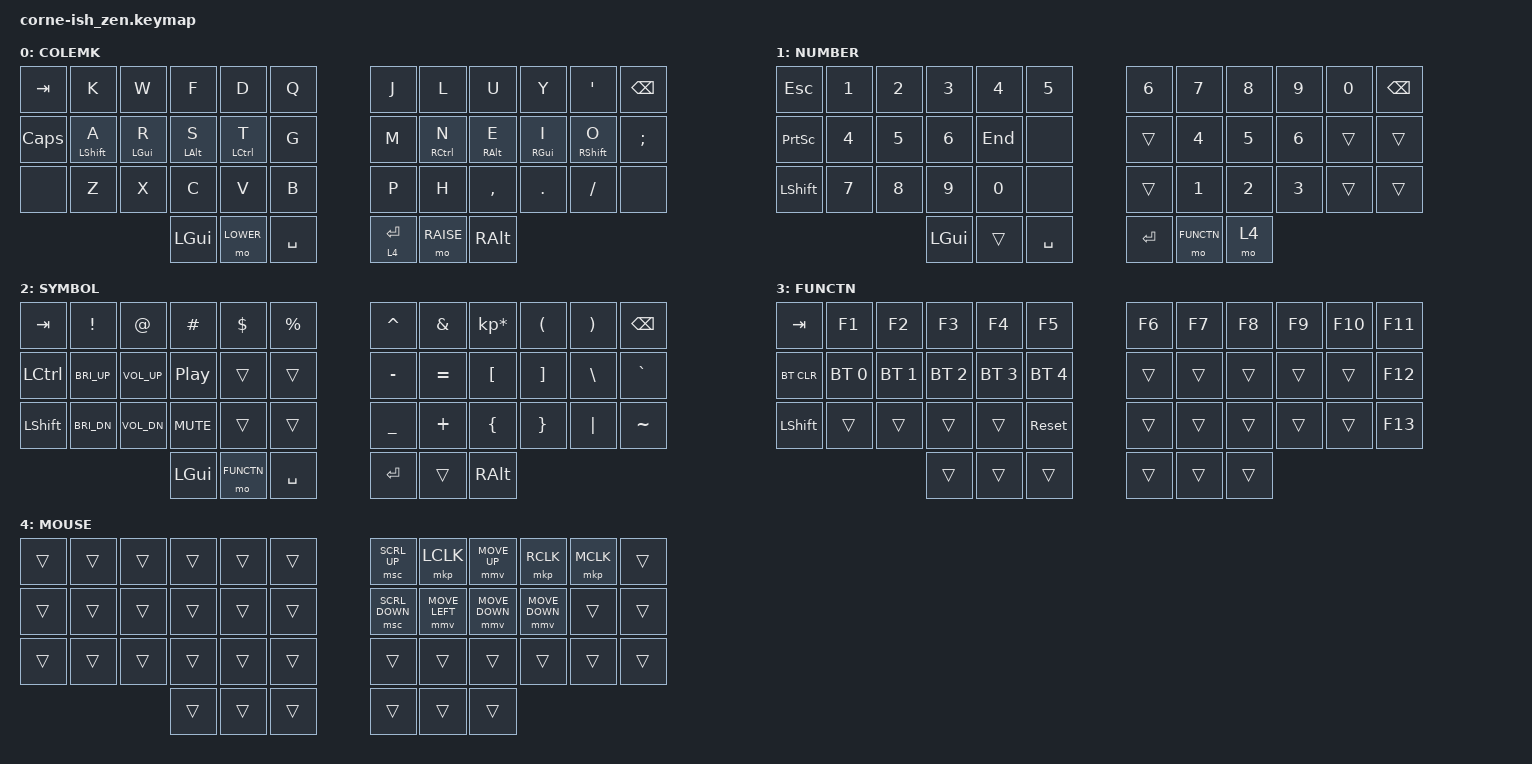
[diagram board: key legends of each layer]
/*
*
* Copyright (c) 2021 Darryl deHaan
* SPDX-License-Identifier: MIT
*
*/

#include <behaviors.dtsi>
#include <dt-bindings/zmk/bt.h>
#include <dt-bindings/zmk/keys.h>
#include <dt-bindings/zmk/pointing.h>

#define COLEMK 0
#define LOWER 1
#define RAISE 2
#define FUNCTN 3

&mt {
    flavor = "tap-preferred";
    tapping-term-ms = <400>;
};

/ {
    chosen {
        zmk,matrix_transform = &default_transform;

        //zmk,matrix_transform = &five_column_transform;
    };
};

/ {
    keymap {
        compatible = "zmk,keymap";

        default_layer {
            label = "COLEMK";

            // -----------------------------------------------------------------------------------------
            // |  TAB |  K  |  W  |  F  |  D  |  Q  |    |  J  |  L   |  U  |  Y  |  '  | BKSP |
            // | CTRL |  A  |  R  |  S  |  T  |  G  |    |  M  |  N   |  E  |  I  |  O  |  ;   |
            // | SHFT |  Z  |  X  |  C  |  V  |  B  |    |  P  |  H   |  ,  |  .  |  /  | SHFT |
            //                    | GUI | LWR | SPC |    | ENT | RSE  | ALT |

            bindings = <
&kp TAB   &kp K         &kp W       &kp F       &kp D        &kp Q        &kp J        &kp L        &kp U       &kp Y       &kp SQT       &kp BSPC
&kp CAPS  &mt LSHIFT A  &mt LGUI R  &mt LALT S  &mt LCTRL T  &kp G        &kp M        &mt RCTRL N  &mt RALT E  &mt RGUI I  &mt RSHIFT O  &kp SEMI
&none     &kp Z         &kp X       &kp C       &kp V        &kp B        &kp P        &kp H        &kp COMMA   &kp DOT     &kp FSLH      &none
                                    &kp LGUI    &mo LOWER    &kp SPACE    &lt 4 ENTER  &mo RAISE    &kp RALT
            >;
        };

        lower_layer {
            label = "NUMBER";

            // -----------------------------------------------------------------------------------------
            // |  ESC |  1  |  2  |  3  |  4  |  5  |   |  6  |  7  |  8  |  9  |  0  | BKSP |
            // |PRNTSC| DEL | HOME|  UP | END |PG UP|   |     |  4  |  5  |  6  |     |      |
            // | SHFT | BKSP| LFT | DWN | RGT |PG DN|   |     |  1  |  2  |  3  |     |      |
            //                    | GUI |     | SPC |   | ENT |     | ALT |

            bindings = <
&kp ESC    &kp N1        &kp N2        &kp N3        &kp N4        &kp N5       &kp N6   &kp N7      &kp N8  &kp N9  &kp N0  &kp BSPC
&kp PSCRN  &kp NUMBER_4  &kp NUMBER_5  &kp NUMBER_6  &kp END       &none        &trans   &kp N4      &kp N5  &kp N6  &trans  &trans
&kp LSHFT  &kp NUMBER_7  &kp N8        &kp NUMBER_9  &kp NUMBER_0  &none        &trans   &kp N1      &kp N2  &kp N3  &trans  &trans
                                       &kp LGUI      &trans        &kp SPACE    &kp RET  &mo FUNCTN  &mo 4
            >;
        };

        raise_layer {
            label = "SYMBOL";

            // -----------------------------------------------------------------------------------------
            // |  TAB |  !   |  @   |  #   |  $  |  %  |     |  ^  |  &  |  *  |  (  |  )  | BKSP |
            // | CTRL |BRGHT+| VOL+ |PLY/PS|     |     |     |  -  |  =  |  [  |  ]  |  \  |  `   |
            // | SHFT |BRGHT-| VOL- | MUTE |     |     |     |  _  |  +  |  {  |  }  |  |  |  ~   |
            //                      | GUI  |     | SPC |     | ENT |     | ALT |

            bindings = <
&kp TAB    &kp EXCL      &kp AT        &kp HASH    &kp DLLR    &kp PRCNT    &kp CARET  &kp AMPS   &kp KP_MULTIPLY  &kp LPAR  &kp RPAR  &kp BSPC
&kp LCTRL  &kp C_BRI_UP  &kp C_VOL_UP  &kp C_PP    &trans      &trans       &kp MINUS  &kp EQUAL  &kp LBKT         &kp RBKT  &kp BSLH  &kp GRAVE
&kp LSHFT  &kp C_BRI_DN  &kp C_VOL_DN  &kp C_MUTE  &trans      &trans       &kp UNDER  &kp PLUS   &kp LBRC         &kp RBRC  &kp PIPE  &kp TILDE
                                       &kp LGUI    &mo FUNCTN  &kp SPACE    &kp RET    &trans     &kp RALT
            >;
        };

        funtion_layer {
            label = "FUNCTN";

            // -----------------------------------------------------------------------------------------
            // |  TAB |  F1 |  F2 |  F3 |  F4 |  F5 |   |  F6 |  F7 |  F8 |  F9 | F10 |  F11 |
            // | BTCLR| BT1 | BT2 | BT3 | BT4 | BT5 |   |     |     |     |     |     |  F12 |
            // | SHFT |     |     |     |     | RST |   |     |     |     |     |     |  F13 |
            //                    | GUI |     | SPC |   | ENT |     | ALT |

            bindings = <
&kp TAB     &kp F1        &kp F2        &kp F3        &kp F4        &kp F5          &kp F6  &kp F7  &kp F8  &kp F9  &kp F10  &kp F11
&bt BT_CLR  &bt BT_SEL 0  &bt BT_SEL 1  &bt BT_SEL 2  &bt BT_SEL 3  &bt BT_SEL 4    &trans  &trans  &trans  &trans  &trans   &kp F12
&kp LSHFT   &trans        &trans        &trans        &trans        &sys_reset      &trans  &trans  &trans  &trans  &trans   &kp F13
                                        &trans        &trans        &trans          &trans  &trans  &trans
            >;
        };

        mouse_layer {
            bindings = <
&trans  &trans  &trans  &trans  &trans  &trans    &msc SCRL_UP    &mkp LCLK       &mmv MOVE_UP    &mkp RCLK       &mkp MCLK  &trans
&trans  &trans  &trans  &trans  &trans  &trans    &msc SCRL_DOWN  &mmv MOVE_LEFT  &mmv MOVE_DOWN  &mmv MOVE_DOWN  &trans     &trans
&trans  &trans  &trans  &trans  &trans  &trans    &trans          &trans          &trans          &trans          &trans     &trans
                        &trans  &trans  &trans    &trans          &trans          &trans
            >;

            label = "MOUSE";
        };
    };
};
